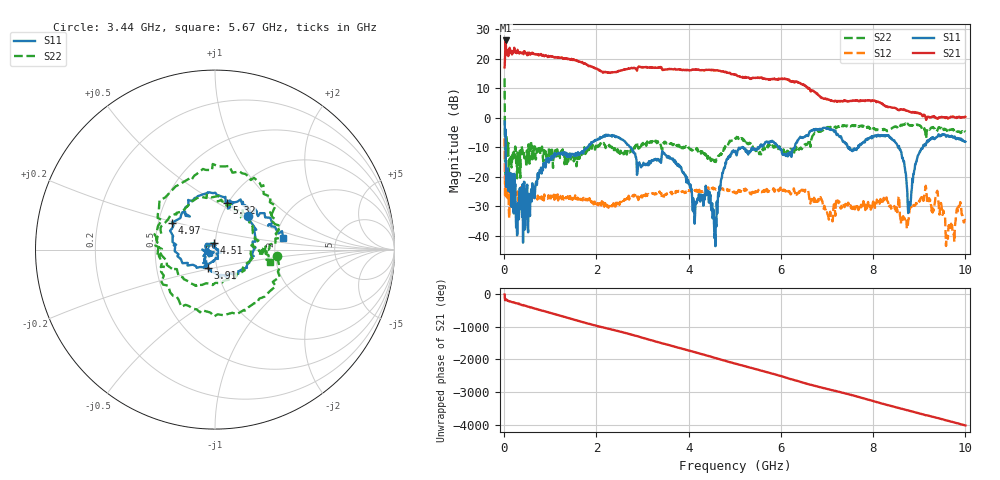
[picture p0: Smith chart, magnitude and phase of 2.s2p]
#  HZ  S  DB  R  50.00
! Rohde & Schwarz ZVA24 2Ports - Version 3.90 - 1145.1110k24 SN: 100222
! Date: 2019-05-10 15:15:03
! Measurements: S11 S21 S12 S22
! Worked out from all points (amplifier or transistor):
!   1000 points, 10 MHz to 10 GHz, reference 50 ohm
!   highest |S21| = 26.3 dB at 30 MHz (marker M1)
!   |S21| within 3 dB of that: 24.44 MHz to 43.72 MHz (19.27 MHz wide, 56.6 % of centre)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
!   unconditionally stable (mu >= 1): 121.5 MHz to 188.7 MHz; 364.5 MHz to 579.8 MHz; 592.1 MHz to end of sweep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
!   at 1.67 GHz: K = 1.31, MAG = 19.9 dB, |S12| = -27.6 dB
!   at 5.01 GHz: K = 1.51, MAG = 15.9 dB, |S12| = -25.5 dB
!   at 10 GHz: K = 14.45, MAG = 2.9 dB, |S12| = -34.7 dB
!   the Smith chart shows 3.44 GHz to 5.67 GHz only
!   S11 on the Smith chart (normalised r, x): 3.44 GHz: 1.33, +0.53; 3.91 GHz: 0.90, -0.19; 4.51 GHz: 0.99, +0.07; 4.97 GHz: 0.59, +0.19; 5.32 GHz: 0.98, +0.55; 5.67 GHz: 2.20, +0.33
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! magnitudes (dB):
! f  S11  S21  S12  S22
! 10 MHz  -1.3  17.1  -6.8  13.4
! 30 MHz  -3.9  26.3  -25.0  -23.6
! 70 MHz  -19.2  21.3  -21.3  -12.9
! 300 MHz  -28.8  22.5  -25.8  -12.3
! 960 MHz  -13.5  21.1  -26.2  -14.9
! 1.68 GHz  -11.9  18.9  -27.7  -12.6
! 2.34 GHz  -6.4  15.4  -29.6  -9.8
! 3.34 GHz  -14.3  17.0  -25.5  -8.3
! 3.44 GHz  -11.6  16.2  -27.0  -9.1
! 3.91 GHz  -19.2  16.2  -25.5  -10.1
! 4.51 GHz  -28.9  16.2  -24.0  -14.5
! 4.97 GHz  -11.0  14.8  -25.3  -7.5
! 5.01 GHz  -11.2  14.8  -25.5  -6.9
! 5.32 GHz  -11.4  13.5  -24.8  -8.4
! 5.67 GHz  -8.3  13.1  -24.7  -10.1
! 6.67 GHz  -4.3  9.4  -28.0  -6.9
! 8.34 GHz  -5.9  3.7  -30.4  -4.2
! 8.62 GHz  -12.7  2.8  -33.9  -2.4
! 8.79 GHz  -29.8  2.1  -31.2  -2.5
! 9.14 GHz  -9.3  -0.1  -23.0  -6.4
! 9.62 GHz  -6.0  -0.2  -41.0  -5.0
! 10 GHz  -8.1  0.3  -34.7  -4.7
